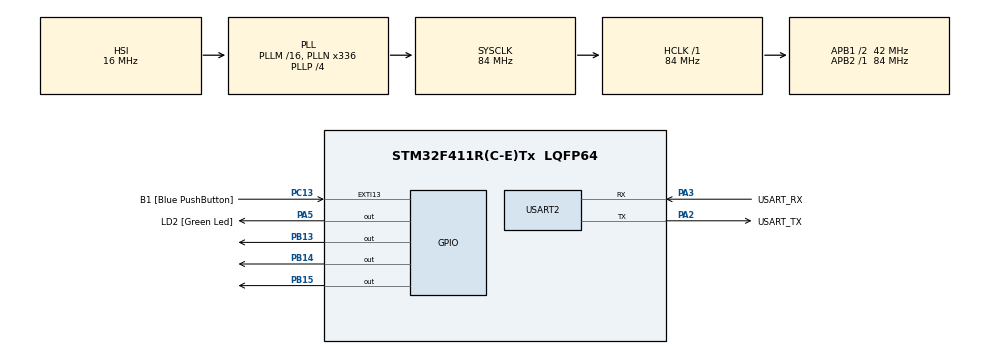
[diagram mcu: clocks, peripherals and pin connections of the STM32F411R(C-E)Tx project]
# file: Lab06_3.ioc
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FREERTOS.BinarySemaphores01=control_sem1,Dynamic,NULL;control_sem2,Dynamic,NULL
FREERTOS.Tasks01=defaultTask,24,128,StartDefaultTask,Default,NULL,Dynamic,NULL,NULL;t1,24,128,t1_thread,Default,NULL,Dynamic,NULL,NULL;t2,24,128,t2_thread,Default,NULL,Dynamic,NULL,NULL;t3,24,128,t3_thread,Default,NULL,Dynamic,NULL,NULL;t4,24,128,t4_thread,Default,NULL,Dynamic,NULL,NULL;speaker01,24,128,speaker01_thread,Default,NULL,Dynamic,NULL,NULL;speaker02,24,128,speaker02_thread,Default,NULL,Dynamic,NULL,NULL
FREERTOS.configUSE_NEWLIB_REENTRANT=1
Mcu.Family=STM32F4
Mcu.Name=STM32F411R(C-E)Tx
Mcu.Package=LQFP64
NVIC.PriorityGroup=NVIC_PRIORITYGROUP_4
NVIC.TIM2_IRQn=true\:15\:0\:false\:false\:true\:false\:false\:true\:true
NVIC.TimeBase=TIM2_IRQn
NVIC.TimeBaseIP=TIM2
PA13.GPIO_Label=TMS
PA13.Mode=Serial_Wire
PA13.Signal=SYS_JTMS-SWDIO
PA14.GPIO_Label=TCK
PA14.Mode=Serial_Wire
PA14.Signal=SYS_JTCK-SWCLK
PA2.GPIO_Label=USART_TX
PA2.Mode=Asynchronous
PA2.Signal=USART2_TX
PA3.GPIO_Label=USART_RX
PA3.Mode=Asynchronous
PA3.Signal=USART2_RX
PA5.GPIO_Label=LD2 [Green Led]
PA5.Signal=GPIO_Output
PB13.Signal=GPIO_Output
PB14.Signal=GPIO_Output
PB15.Signal=GPIO_Output
PB3.GPIO_Label=SWO
PB3.Signal=SYS_JTDO-SWO
PC13-ANTI_TAMP.GPIO_Label=B1 [Blue PushButton]
PC13-ANTI_TAMP.GPIO_ModeDefaultEXTI=GPIO_MODE_IT_FALLING
PC13-ANTI_TAMP.Signal=GPXTI13
PC14-OSC32_IN.Mode=LSE-External-Oscillator
PC14-OSC32_IN.Signal=RCC_OSC32_IN
PC15-OSC32_OUT.Mode=LSE-External-Oscillator
PC15-OSC32_OUT.Signal=RCC_OSC32_OUT
PH0\ -\ OSC_IN.Mode=HSE-External-Clock-Source
PH0\ -\ OSC_IN.Signal=RCC_OSC_IN
PH1\ -\ OSC_OUT.Mode=HSE-External-Clock-Source
PH1\ -\ OSC_OUT.Signal=RCC_OSC_OUT
ProjectManager.HeapSize=0x200
ProjectManager.StackSize=0x400
ProjectManager.TargetToolchain=STM32CubeIDE
RCC.48MHZClocksFreq_Value=84000000
RCC.AHBFreq_Value=84000000
RCC.APB1CLKDivider=RCC_HCLK_DIV2
RCC.APB1Freq_Value=42000000
RCC.APB1TimFreq_Value=84000000
RCC.APB2Freq_Value=84000000
RCC.APB2TimFreq_Value=84000000
RCC.CortexFreq_Value=84000000
RCC.FLatency-AdvancedSettings=FLASH_LATENCY_2
RCC.HCLKFreq_Value=84000000
RCC.HSE_VALUE=8000000
RCC.HSI_VALUE=16000000
RCC.PLLN=336
RCC.PLLP=RCC_PLLP_DIV4
RCC.SYSCLKFreq_VALUE=84000000
RCC.SYSCLKSource=RCC_SYSCLKSOURCE_PLLCLK
RCC.VCOOutputFreq_Value=336000000
USART2.VirtualMode=VM_ASYNC
VP_FREERTOS_VS_CMSIS_V2.Mode=CMSIS_V2
VP_SYS_VS_tim2.Mode=TIM2
board=NUCLEO-F411RE

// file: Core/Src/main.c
/* USER CODE BEGIN Header */
/**
  ******************************************************************************
  * @file           : main.c
  * @brief          : Main program body
  ******************************************************************************
  * @attention
  *
  * Copyright (c) 2023 STMicroelectronics.
  * All rights reserved.
  *
  * This software is licensed under terms that can be found in the LICENSE file
  * in the root directory of this software component.
  * If no LICENSE file comes with this software, it is provided AS-IS.
  *
  ******************************************************************************
  */
/* USER CODE END Header */
#include "main.h"
#include "cmsis_os.h"

UART_HandleTypeDef huart2;

/* Definitions for defaultTask */
osThreadId_t defaultTaskHandle;
const osThreadAttr_t defaultTask_attributes = {
  .name = "defaultTask",
  .stack_size = 128 * 4,
  .priority = (osPriority_t) osPriorityNormal,
};
/* Definitions for t1 */
osThreadId_t t1Handle;
const osThreadAttr_t t1_attributes = {
  .name = "t1",
  .stack_size = 128 * 4,
  .priority = (osPriority_t) osPriorityNormal,
};
/* Definitions for t2 */
osThreadId_t t2Handle;
const osThreadAttr_t t2_attributes = {
  .name = "t2",
  .stack_size = 128 * 4,
  .priority = (osPriority_t) osPriorityNormal,
};
/* Definitions for t3 */
osThreadId_t t3Handle;
const osThreadAttr_t t3_attributes = {
  .name = "t3",
  .stack_size = 128 * 4,
  .priority = (osPriority_t) osPriorityNormal,
};
/* Definitions for t4 */
osThreadId_t t4Handle;
const osThreadAttr_t t4_attributes = {
  .name = "t4",
  .stack_size = 128 * 4,
  .priority = (osPriority_t) osPriorityNormal,
};
/* Definitions for speaker01 */
osThreadId_t speaker01Handle;
const osThreadAttr_t speaker01_attributes = {
  .name = "speaker01",
  .stack_size = 128 * 4,
  .priority = (osPriority_t) osPriorityNormal,
};
/* Definitions for speaker02 */
osThreadId_t speaker02Handle;
const osThreadAttr_t speaker02_attributes = {
  .name = "speaker02",
  .stack_size = 128 * 4,
  .priority = (osPriority_t) osPriorityNormal,
};
/* Definitions for control_sem1 */
osSemaphoreId_t control_sem1Handle;
const osSemaphoreAttr_t control_sem1_attributes = {
  .name = "control_sem1"
};
/* Definitions for control_sem2 */
osSemaphoreId_t control_sem2Handle;
const osSemaphoreAttr_t control_sem2_attributes = {
  .name = "control_sem2"
};

void SystemClock_Config(void);
static void MX_GPIO_Init(void);
static void MX_USART2_UART_Init(void);
void StartDefaultTask(void *argument);
void t1_thread(void *argument);
void t2_thread(void *argument);
void t3_thread(void *argument);
void t4_thread(void *argument);
void speaker01_thread(void *argument);
void speaker02_thread(void *argument);

int main(void)
{

  /* MCU Configuration--------------------------------------------------------*/

  /* Reset of all peripherals, Initializes the Flash interface and the Systick. */
  HAL_Init();

  /* Configure the system clock */
  SystemClock_Config();

  /* Initialize all configured peripherals */
  MX_GPIO_Init();
  MX_USART2_UART_Init();

  /* Init scheduler */
  osKernelInitialize();

  /* Create the semaphores(s) */
  /* creation of control_sem1 */
  control_sem1Handle = osSemaphoreNew(1, 1, &control_sem1_attributes);

  /* creation of control_sem2 */
  control_sem2Handle = osSemaphoreNew(1, 1, &control_sem2_attributes);

  /* Create the thread(s) */
  /* creation of defaultTask */
  defaultTaskHandle = osThreadNew(StartDefaultTask, NULL, &defaultTask_attributes);

  /* creation of t1 */
  t1Handle = osThreadNew(t1_thread, NULL, &t1_attributes);

  /* creation of t2 */
  t2Handle = osThreadNew(t2_thread, NULL, &t2_attributes);

  /* creation of t3 */
  t3Handle = osThreadNew(t3_thread, NULL, &t3_attributes);

  /* creation of t4 */
  t4Handle = osThreadNew(t4_thread, NULL, &t4_attributes);

  /* creation of speaker01 */
  speaker01Handle = osThreadNew(speaker01_thread, NULL, &speaker01_attributes);

  /* creation of speaker02 */
  speaker02Handle = osThreadNew(speaker02_thread, NULL, &speaker02_attributes);

  /* Start scheduler */
  osKernelStart();
  /* We should never get here as control is now taken by the scheduler */
  /* Infinite loop */
  while (1)
  {

  }
}

void SystemClock_Config(void)
{
  RCC_OscInitTypeDef RCC_OscInitStruct = {0};
  RCC_ClkInitTypeDef RCC_ClkInitStruct = {0};

  /** Configure the main internal regulator output voltage
  */
  __HAL_RCC_PWR_CLK_ENABLE();
  __HAL_PWR_VOLTAGESCALING_CONFIG(PWR_REGULATOR_VOLTAGE_SCALE1);

  /** Initializes the RCC Oscillators according to the specified parameters
  * in the RCC_OscInitTypeDef structure.
  */
  RCC_OscInitStruct.OscillatorType = RCC_OSCILLATORTYPE_HSI;
  RCC_OscInitStruct.HSIState = RCC_HSI_ON;
  RCC_OscInitStruct.HSICalibrationValue = RCC_HSICALIBRATION_DEFAULT;
  RCC_OscInitStruct.PLL.PLLState = RCC_PLL_ON;
  RCC_OscInitStruct.PLL.PLLSource = RCC_PLLSOURCE_HSI;
  RCC_OscInitStruct.PLL.PLLM = 16;
  RCC_OscInitStruct.PLL.PLLN = 336;
  RCC_OscInitStruct.PLL.PLLP = RCC_PLLP_DIV4;
  RCC_OscInitStruct.PLL.PLLQ = 4;
  if (HAL_RCC_OscConfig(&RCC_OscInitStruct) != HAL_OK)
  {
    Error_Handler();
  }

  /** Initializes the CPU, AHB and APB buses clocks
  */
  RCC_ClkInitStruct.ClockType = RCC_CLOCKTYPE_HCLK|RCC_CLOCKTYPE_SYSCLK
                              |RCC_CLOCKTYPE_PCLK1|RCC_CLOCKTYPE_PCLK2;
  RCC_ClkInitStruct.SYSCLKSource = RCC_SYSCLKSOURCE_PLLCLK;
  RCC_ClkInitStruct.AHBCLKDivider = RCC_SYSCLK_DIV1;
  RCC_ClkInitStruct.APB1CLKDivider = RCC_HCLK_DIV2;
  RCC_ClkInitStruct.APB2CLKDivider = RCC_HCLK_DIV1;

  if (HAL_RCC_ClockConfig(&RCC_ClkInitStruct, FLASH_LATENCY_2) != HAL_OK)
  {
    Error_Handler();
  }
}

static void MX_USART2_UART_Init(void)
{

  huart2.Instance = USART2;
  huart2.Init.BaudRate = 115200;
  huart2.Init.WordLength = UART_WORDLENGTH_8B;
  huart2.Init.StopBits = UART_STOPBITS_1;
  huart2.Init.Parity = UART_PARITY_NONE;
  huart2.Init.Mode = UART_MODE_TX_RX;
  huart2.Init.HwFlowCtl = UART_HWCONTROL_NONE;
  huart2.Init.OverSampling = UART_OVERSAMPLING_16;
  if (HAL_UART_Init(&huart2) != HAL_OK)
  {
    Error_Handler();
  }

}

static void MX_GPIO_Init(void)
{
  GPIO_InitTypeDef GPIO_InitStruct = {0};

  /* GPIO Ports Clock Enable */
  __HAL_RCC_GPIOC_CLK_ENABLE();
  __HAL_RCC_GPIOH_CLK_ENABLE();
  __HAL_RCC_GPIOA_CLK_ENABLE();
  __HAL_RCC_GPIOB_CLK_ENABLE();

  /*Configure GPIO pin Output Level */
  HAL_GPIO_WritePin(LD2_GPIO_Port, LD2_Pin, GPIO_PIN_RESET);

  /*Configure GPIO pin Output Level */
  HAL_GPIO_WritePin(GPIOB, GPIO_PIN_13|GPIO_PIN_14|GPIO_PIN_15, GPIO_PIN_RESET);

  /*Configure GPIO pin : B1_Pin */
  GPIO_InitStruct.Pin = B1_Pin;
  GPIO_InitStruct.Mode = GPIO_MODE_IT_FALLING;
  GPIO_InitStruct.Pull = GPIO_NOPULL;
  HAL_GPIO_Init(B1_GPIO_Port, &GPIO_InitStruct);

  /*Configure GPIO pin : LD2_Pin */
  GPIO_InitStruct.Pin = LD2_Pin;
  GPIO_InitStruct.Mode = GPIO_MODE_OUTPUT_PP;
  GPIO_InitStruct.Pull = GPIO_NOPULL;
  GPIO_InitStruct.Speed = GPIO_SPEED_FREQ_LOW;
  HAL_GPIO_Init(LD2_GPIO_Port, &GPIO_InitStruct);

  /*Configure GPIO pins : PB13 PB14 PB15 */
  GPIO_InitStruct.Pin = GPIO_PIN_13|GPIO_PIN_14|GPIO_PIN_15;
  GPIO_InitStruct.Mode = GPIO_MODE_OUTPUT_PP;
  GPIO_InitStruct.Pull = GPIO_NOPULL;
  GPIO_InitStruct.Speed = GPIO_SPEED_FREQ_LOW;
  HAL_GPIO_Init(GPIOB, &GPIO_InitStruct);

}

void StartDefaultTask(void *argument)
{
  for(;;)
  {
    osDelay(1);
  }
}

void t1_thread(void *argument)
{
  /* USER CODE BEGIN t1_thread */
  /* Infinite loop */
  for(;;)
  {
	  HAL_GPIO_TogglePin(GPIOA,GPIO_PIN_5);
	  osDelay(50);
  }
  /* USER CODE END t1_thread */
}

void t2_thread(void *argument)
{
  /* USER CODE BEGIN t2_thread */
  /* Infinite loop */
  for(;;)
  {
	  HAL_GPIO_TogglePin(GPIOB,GPIO_PIN_13);
	  osDelay(18);
  }
  /* USER CODE END t2_thread */
}

void t3_thread(void *argument)
{
  /* USER CODE BEGIN t3_thread */
  /* Infinite loop */
  for(;;)
  {
	  HAL_GPIO_TogglePin(GPIOB,GPIO_PIN_14);
	  osDelay(128);
  }
  /* USER CODE END t3_thread */
}

void t4_thread(void *argument)
{
  /* USER CODE BEGIN t4_thread */
  /* Infinite loop */
  for(;;)
  {
	  HAL_GPIO_TogglePin(GPIOB,GPIO_PIN_15);
	  osDelay(64);
  }
  /* USER CODE END t4_thread */
}

void speaker01_thread(void *argument)
{
  /* USER CODE BEGIN speaker01_thread */
	int threadID = 0; // threadID is 0 for one thread and 1 for another
	int idx = 0;
	char buffer[32];
  /* Infinite loop */
//	osSemaphoreAcquire(control_semHandle, osWaitForever);
  for(;;)
  {
	osSemaphoreAcquire(control_sem2Handle, osWaitForever);
	sprintf(buffer, "TID: %d %d\r\n", threadID, idx);
	idx ++;
	HAL_UART_Transmit(&huart2, buffer, strlen(buffer), 1000);
	osSemaphoreRelease(control_sem1Handle);
  }
//  osSemaphoreRelease(control_semHandle);
  /* USER CODE END speaker01_thread */
}

void speaker02_thread(void *argument)
{
  /* USER CODE BEGIN speaker02_thread */
	int threadID = 1; // threadID is 0 for one thread and 1 for another
	int idx = 0;
	char buffer[32];
  /* Infinite loop */
//	osSemaphoreAcquire(control_semHandle, osWaitForever);
  for(;;)
  {
	osSemaphoreAcquire(control_sem1Handle, osWaitForever);
	sprintf(buffer, "TID: %d %d\r\n", threadID, idx);
	idx ++;
	HAL_UART_Transmit(&huart2, buffer, strlen(buffer), 1000);
	osSemaphoreRelease(control_sem2Handle);
  }
//  osSemaphoreRelease(control_semHandle);
  /* USER CODE END speaker02_thread */
}

void HAL_TIM_PeriodElapsedCallback(TIM_HandleTypeDef *htim)
{
  if (htim->Instance == TIM2) {
    HAL_IncTick();
  }
}

void Error_Handler(void)
{
  __disable_irq();
  while (1)
  {
  }
}
